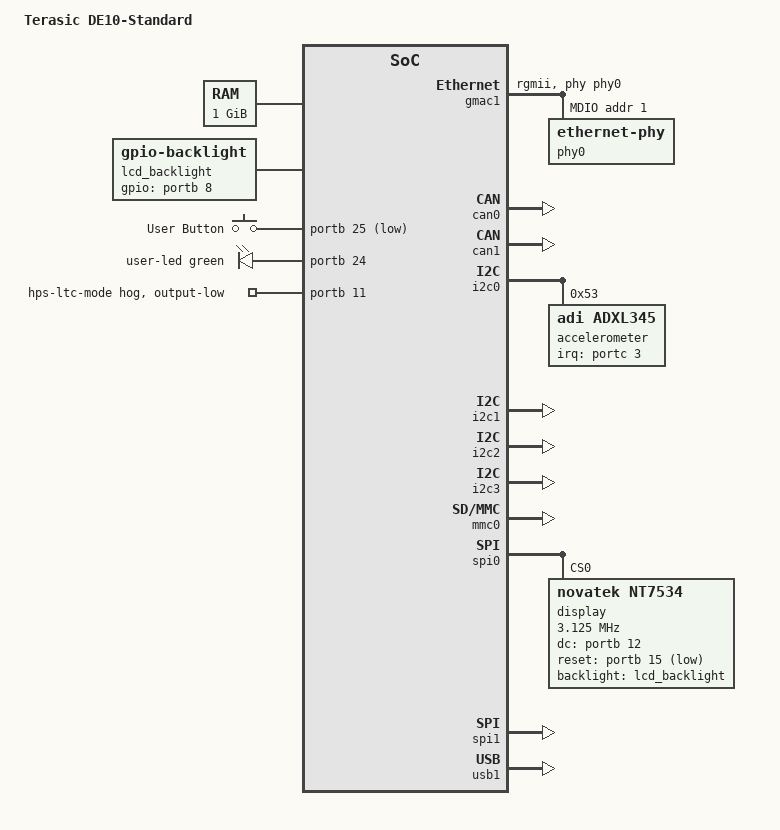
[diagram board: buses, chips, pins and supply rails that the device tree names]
// SPDX-License-Identifier: GPL-2.0-or-later
/*
 * Copyright (C) 2026 Nimesh Acharya <Radonoxius@protonmail.com>
 */

#include "socfpga_cyclone5.dtsi"

#include <dt-bindings/gpio/gpio.h>
#include <dt-bindings/input/input.h>
#include <dt-bindings/interrupt-controller/irq.h>
#include <dt-bindings/leds/common.h>

/ {
    model = "Terasic DE10-Standard";
    compatible = "altr,socfpga-cyclone5", "altr,socfpga";

    aliases {
        ethernet0 = &gmac1;
        can0 = &can0;
        can1 = &can1;
        i2c0 = &i2c0;
  	    i2c1 = &i2c1;
  	    i2c2 = &i2c2;
  	    i2c3 = &i2c3;
        spi0 = &spi0;
        spi1 = &spi1;
    };

    chosen {
        stdout-path = "serial0:115200n8";
    };

    memory@0 {
        device_type = "memory";
        reg = <0x0 0x40000000>;
    };
    
    lcd_backlight: backlight {
        compatible = "gpio-backlight";
        gpios = <&portb 8 GPIO_ACTIVE_HIGH>;
        default-on;
    };

    gpio-keys {
        compatible = "gpio-keys";

        user-button {
            label = "User Button";
            gpios = <&portb 25 GPIO_ACTIVE_LOW>;
            linux,code = <BTN_0>;
        };
    };

    leds {
        compatible = "gpio-leds";

        user-led {
            function = LED_FUNCTION_HEARTBEAT;
            color = <LED_COLOR_ID_GREEN>;
            gpios = <&portb 24 GPIO_ACTIVE_HIGH>;
            linux,default-trigger = "heartbeat";
        };
    };
};

&gmac1 {
    status = "okay";
    phy-mode = "rgmii";
    phy-handle = <&phy0>;

    mdio {
        #address-cells = <1>;
        #size-cells = <0>;
        compatible = "snps,dwmac-mdio";

        phy0: ethernet-phy@1 {
            reg = <1>;
            rxd0-skew-ps = <420>;
            rxd1-skew-ps = <420>;
            rxd2-skew-ps = <420>;
            rxd3-skew-ps = <420>;
            rxdv-skew-ps = <420>;
            rxc-skew-ps  = <1680>;
            txen-skew-ps = <0>;
            txd0-skew-ps = <0>;
            txd1-skew-ps = <0>;
            txd2-skew-ps = <0>;
            txd3-skew-ps = <0>;
            txc-skew-ps  = <1860>;
        };
    };
};

&can0 {
	status = "okay";
};

&can1 {
	status = "okay";
};

&gpio0 {
    status = "okay";
};

&gpio1 {
    status = "okay";
};

&portb {
	ltc-mode-hog {
		gpio-hog;
		gpios = <11 GPIO_ACTIVE_HIGH>;
		output-low;
		line-name = "hps-ltc-mode";
	};
};

&gpio2 {
    status = "okay";
};

&i2c0 {
	status = "okay";

	accelerometer@53 {
		compatible = "adi,adxl345";
		reg = <0x53>;
		interrupts-extended = <&portc 3 IRQ_TYPE_LEVEL_HIGH>;
		interrupt-names = "INT1";
	};
};

&i2c1 {
    status = "okay";
};

&i2c2 {
    status = "okay";
};

&i2c3 {
    status = "okay";
};

&mmc0 {
    status = "okay";
};

&spi0 {
	status = "okay";

	display@0 {
		compatible = "novatek,nt7534";
		reg = <0>;
		spi-max-frequency = <3125000>;
		dc-gpios = <&portb 12 GPIO_ACTIVE_HIGH>;
		reset-gpios = <&portb 15 GPIO_ACTIVE_LOW>;
		backlight = <&lcd_backlight>;
	};
};

&spi1 {
    status = "okay";
};

&uart0 {
    clock-frequency = <100000000>;
};

&usb1 {
    status = "okay";
};
